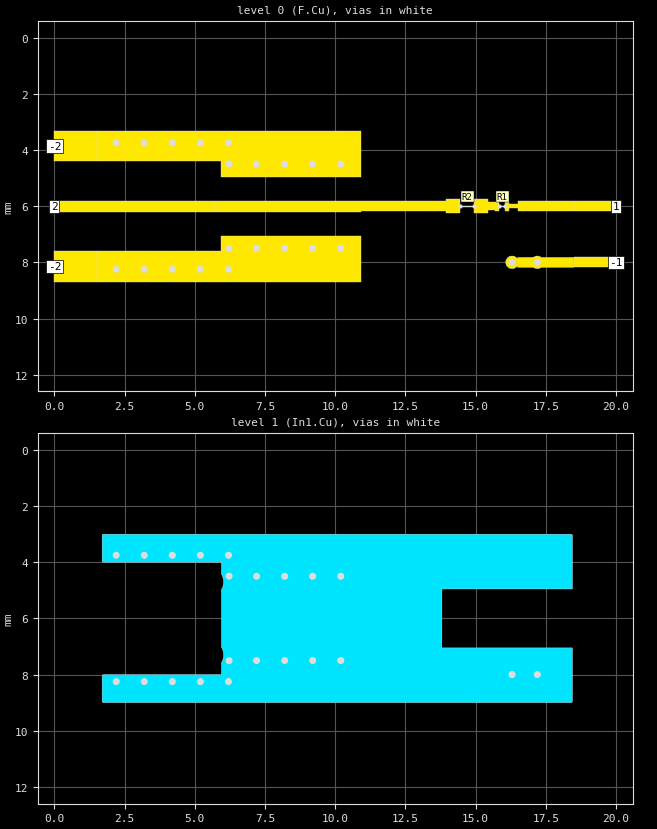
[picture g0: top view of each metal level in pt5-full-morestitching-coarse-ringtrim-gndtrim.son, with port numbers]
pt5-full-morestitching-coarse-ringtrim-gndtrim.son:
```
FTYP SONPROJ 19 ! Sonnet Project File
VER 18.52
HEADER
LIC antikernel2.1.51176
DAT 12/10/2021 07:29:23
BUILT_BY_CREATED dxf 18.52 11/25/2021 07:40:45
BUILT_BY_SAVED sonnet 18.52
MDATE 12/10/2021 07:28:58
HDATE 12/10/2021 07:28:58
ANN Created by dxfgeo, Sonnet Software Inc.
END HEADER
DIM
ANG DEG
CAP PF
CON /OH
FREQ GHZ
IND NH
LNG MM
RES OH
END DIM
CONTROL
VARSWP
OPTIONS  -dj
SPEED 1
CACHE_ABS 2
Q_ACC N
END CONTROL
GEO
DRP1 LEFT FIX 5.7
DRP1 RIGHT LINK
POLY 432 1
0
TMET "Free Space" 0 FREESPACE 376.7303136 0 0 0
BMET "Free Space" 0 FREESPACE 376.7303136 0 0 0
MET "Copper_outer" 1 TMM 58000000 0.5 0.0432 2
MET "Copper_inner" 2 NOR 58000000 0.5 0.0175 
MET "Copper_bottom" 3 TMM 58000000 0.5 0.0432 2 CDVY TDWN
BOX 4 20 12 1600 960 20 0
      10 1 1 0 0 0 0 "Air"
      0.1702 3.68 1 0.0092 0 0 0 "Isola_FR408HR"
      1.1938 3.68 1 0.0092 0 0 0 "Isola_FR408HR"
      0.1702 3.68 1 0.0092 0 0 0 "Isola_FR408HR"
      10 1 1 0 0 0 0 "Air"
TECHLAY VIA Via1 L5D0 -5 -65534 CAD Via1 drawing 
VIA POLYGON
0 0 -1 N 577 1 1 100 100 0 0 0 Y
TOLEVEL 3 RING NOCOVERS
END
END
TECHLAY METAL F.Cu L1D0 -1 -65534 CAD F.Cu drawing 
0 0 0 N 476 1 1 100 100 0 0 0 Y
END
END
TECHLAY METAL In1.Cu L2D0 -2 -65534 CAD In1.Cu drawing 
1 0 1 N 488 1 1 100 100 0 0 0 Y
END
END
TECHLAY METAL In2.Cu L3D0 -3 -65534 CAD In2.Cu drawing 
2 0 1 N 491 1 1 100 100 0 0 0 Y
END
END
TECHLAY METAL B.Cu L4D0 -4 -65534 CAD B.Cu drawing 
3 0 2 N 494 1 1 100 100 0 0 0 Y
END
END
LORGN 0 12 U 
POR1 BOX
POLY 432 1
2
1 50 0 0 0 20 6 
POR1 BOX
POLY 436 1
2
-1 50 0 0 0 20 8 
POR1 BOX
POLY 441 1
2
2 50 0 0 0 0 6 
POR1 BOX
POLY 447 1
2
-2 50 0 0 0 0 3.855 
POR1 BOX
POLY 452 1
2
-2 50 0 0 0 0 8.145 
SMD 0 "R1"
ID 455
GNDREF FLOAT
SBOX 15.9 16 5.95 6.05
PBSHW N
LPOS 15.95 5.95
TYPE SPARAM 1
SMDP 0 16.05 6 R 3 1 
EXSMDP
GNDREF FLOAT
TERMW FEED
END EXSMDP
SMDP 0 15.85 6 L 4 2 
EXSMDP
GNDREF FLOAT
TERMW FEED
END EXSMDP
END
SMD 0 "R2"
ID 460
GNDREF FLOAT
SBOX 14.575 14.825 5.875 6.125
PBSHW N
LPOS 14.7 5.875
TYPE SPARAM 2
SMDP 0 14.95 6 R 5 1 
EXSMDP
GNDREF FLOAT
TERMW FEED
END EXSMDP
SMDP 0 14.45 6 L 6 2 
EXSMDP
GNDREF FLOAT
TERMW FEED
END EXSMDP
END
NUM 34
VIA POLYGON
0 53 -1 N 344 1 1 100 100 0 0 0 Y
TOLEVEL 3 RING NOCOVERS
TLAYNAM Via1 INH
USER_DAT FromImport
2.2 3.875
2.176 3.873
2.164 3.87
2.152 3.865
2.141 3.86
2.131 3.854
2.121 3.847
2.103 3.829
2.096 3.819
2.09 3.809
2.085 3.798
2.08 3.786
2.077 3.774
2.075 3.75
2.077 3.726
2.08 3.714
2.085 3.702
2.09 3.691
2.096 3.681
2.103 3.671
2.121 3.653
2.131 3.646
2.141 3.64
2.152 3.635
2.164 3.63
2.176 3.627
2.2 3.625
2.224 3.627
2.236 3.63
2.248 3.635
2.259 3.64
2.269 3.646
2.279 3.653
2.297 3.671
2.304 3.681
2.31 3.691
2.315 3.702
2.32 3.714
2.323 3.726
2.325 3.75
2.323 3.774
2.32 3.786
2.315 3.798
2.31 3.809
2.304 3.819
2.297 3.829
2.279 3.847
2.269 3.854
2.259 3.86
2.248 3.865
2.236 3.87
2.224 3.873
2.2 3.875
END
VIA POLYGON
0 53 -1 N 346 1 1 100 100 0 0 0 Y
TOLEVEL 3 RING NOCOVERS
TLAYNAM Via1 INH
USER_DAT FromImport
17.2 8.125
17.176 8.123
17.164 8.12
17.152 8.115
17.141 8.11
17.131 8.104
17.121 8.097
17.103 8.079
17.096 8.069
17.09 8.059
17.085 8.048
17.08 8.036
17.077 8.024
17.075 8
17.077 7.976
17.08 7.964
17.085 7.952
17.09 7.941
17.096 7.931
17.103 7.921
17.121 7.903
17.131 7.896
17.141 7.89
17.152 7.885
17.164 7.88
17.176 7.877
17.2 7.875
17.224 7.877
17.236 7.88
17.248 7.885
17.259 7.89
17.269 7.896
17.279 7.903
17.297 7.921
17.304 7.931
17.31 7.941
17.315 7.952
17.32 7.964
17.323 7.976
17.325 8
17.323 8.024
17.32 8.036
17.315 8.048
17.31 8.059
17.304 8.069
17.297 8.079
17.279 8.097
17.269 8.104
17.259 8.11
17.248 8.115
17.236 8.12
17.224 8.123
17.2 8.125
END
VIA POLYGON
0 53 -1 N 350 1 1 100 100 0 0 0 Y
TOLEVEL 3 RING NOCOVERS
TLAYNAM Via1 INH
USER_DAT FromImport
5.2 3.875
5.176 3.873
5.164 3.87
5.152 3.865
5.141 3.86
5.131 3.854
5.121 3.847
5.103 3.829
5.096 3.819
5.09 3.809
5.085 3.798
5.08 3.786
5.077 3.774
5.075 3.75
5.077 3.726
5.08 3.714
5.085 3.702
5.09 3.691
5.096 3.681
5.103 3.671
5.121 3.653
5.131 3.646
5.141 3.64
5.152 3.635
5.164 3.63
5.176 3.627
5.2 3.625
5.224 3.627
5.236 3.63
5.248 3.635
5.259 3.64
5.269 3.646
5.279 3.653
5.297 3.671
5.304 3.681
5.31 3.691
5.315 3.702
5.32 3.714
5.323 3.726
5.325 3.75
5.323 3.774
5.32 3.786
5.315 3.798
5.31 3.809
5.304 3.819
5.297 3.829
5.279 3.847
5.269 3.854
5.259 3.86
5.248 3.865
5.236 3.87
5.224 3.873
5.2 3.875
END
VIA POLYGON
0 53 -1 N 355 1 1 100 100 0 0 0 Y
TOLEVEL 3 RING NOCOVERS
TLAYNAM Via1 INH
USER_DAT FromImport
16.3 8.125
16.276 8.123
16.264 8.12
16.252 8.115
16.241 8.11
16.231 8.104
16.221 8.097
16.203 8.079
16.196 8.069
16.19 8.059
16.185 8.048
16.18 8.036
16.177 8.024
16.175 8
16.177 7.976
16.18 7.964
16.185 7.952
16.19 7.941
16.196 7.931
16.203 7.921
16.221 7.903
16.231 7.896
16.241 7.89
16.252 7.885
16.264 7.88
16.276 7.877
16.3 7.875
16.324 7.877
16.336 7.88
16.348 7.885
16.359 7.89
16.369 7.896
16.379 7.903
16.397 7.921
16.404 7.931
16.41 7.941
16.415 7.952
16.42 7.964
16.423 7.976
16.425 8
16.423 8.024
16.42 8.036
16.415 8.048
16.41 8.059
16.404 8.069
16.397 8.079
16.379 8.097
16.369 8.104
16.359 8.11
16.348 8.115
16.336 8.12
16.324 8.123
16.3 8.125
END
VIA POLYGON
0 53 -1 N 356 1 1 100 100 0 0 0 Y
TOLEVEL 3 RING NOCOVERS
TLAYNAM Via1 INH
USER_DAT FromImport
6.2 3.875
6.176 3.873
6.164 3.87
6.152 3.865
6.141 3.86
6.131 3.854
6.121 3.847
6.103 3.829
6.096 3.819
6.09 3.809
6.085 3.798
6.08 3.786
6.077 3.774
6.075 3.75
6.077 3.726
6.08 3.714
6.085 3.702
6.09 3.691
6.096 3.681
6.103 3.671
6.121 3.653
6.131 3.646
6.141 3.64
6.152 3.635
6.164 3.63
6.176 3.627
6.2 3.625
6.224 3.627
6.236 3.63
6.248 3.635
6.259 3.64
6.269 3.646
6.279 3.653
6.297 3.671
6.304 3.681
6.31 3.691
6.315 3.702
6.32 3.714
6.323 3.726
6.325 3.75
6.323 3.774
6.32 3.786
6.315 3.798
6.31 3.809
6.304 3.819
6.297 3.829
6.279 3.847
6.269 3.854
6.259 3.86
6.248 3.865
6.236 3.87
6.224 3.873
6.2 3.875
END
VIA POLYGON
0 53 -1 N 358 1 1 100 100 0 0 0 Y
TOLEVEL 3 RING NOCOVERS
TLAYNAM Via1 INH
USER_DAT FromImport
10.2 4.625
10.176 4.623
10.164 4.62
10.152 4.615
10.141 4.61
10.131 4.604
10.121 4.597
10.103 4.579
10.096 4.569
10.09 4.559
10.085 4.548
10.08 4.536
10.077 4.524
10.075 4.5
10.077 4.476
10.08 4.464
10.085 4.452
10.09 4.441
10.096 4.431
10.103 4.421
10.121 4.403
10.131 4.396
10.141 4.39
10.152 4.385
10.164 4.38
10.176 4.377
10.2 4.375
10.224 4.377
10.236 4.38
10.248 4.385
10.259 4.39
10.269 4.396
10.279 4.403
10.297 4.421
10.304 4.431
10.31 4.441
10.315 4.452
10.32 4.464
10.323 4.476
10.325 4.5
10.323 4.524
10.32 4.536
10.315 4.548
10.31 4.559
10.304 4.569
10.297 4.579
10.279 4.597
10.269 4.604
10.259 4.61
10.248 4.615
10.236 4.62
10.224 4.623
10.2 4.625
END
VIA POLYGON
0 53 -1 N 359 1 1 100 100 0 0 0 Y
TOLEVEL 3 RING NOCOVERS
TLAYNAM Via1 INH
USER_DAT FromImport
6.221 4.619
6.197 4.617
6.185 4.614
6.173 4.609
6.162 4.604
6.152 4.598
6.142 4.591
6.124 4.573
6.117 4.563
6.111 4.553
6.106 4.542
6.101 4.53
6.098 4.518
6.096 4.494
6.098 4.47
6.101 4.458
6.106 4.446
6.111 4.435
6.117 4.425
6.124 4.415
6.142 4.397
6.152 4.39
6.162 4.384
6.173 4.379
6.185 4.374
6.197 4.371
6.221 4.369
6.245 4.371
6.257 4.374
6.269 4.379
6.28 4.384
6.29 4.39
6.3 4.397
6.318 4.415
6.325 4.425
6.331 4.435
6.336 4.446
6.341 4.458
6.344 4.47
6.346 4.494
6.344 4.518
6.341 4.53
6.336 4.542
6.331 4.553
6.325 4.563
6.318 4.573
6.3 4.591
6.29 4.598
6.28 4.604
6.269 4.609
6.257 4.614
6.245 4.617
6.221 4.619
END
VIA POLYGON
0 53 -1 N 366 1 1 100 100 0 0 0 Y
TOLEVEL 3 RING NOCOVERS
TLAYNAM Via1 INH
USER_DAT FromImport
10.2 7.625
10.176 7.623
10.164 7.62
10.152 7.615
10.141 7.61
10.131 7.604
10.121 7.597
10.103 7.579
10.096 7.569
10.09 7.559
10.085 7.548
10.08 7.536
10.077 7.524
10.075 7.5
10.077 7.476
10.08 7.464
10.085 7.452
10.09 7.441
10.096 7.431
10.103 7.421
10.121 7.403
10.131 7.396
10.141 7.39
10.152 7.385
10.164 7.38
10.176 7.377
10.2 7.375
10.224 7.377
10.236 7.38
10.248 7.385
10.259 7.39
10.269 7.396
10.279 7.403
10.297 7.421
10.304 7.431
10.31 7.441
10.315 7.452
10.32 7.464
10.323 7.476
10.325 7.5
10.323 7.524
10.32 7.536
10.315 7.548
10.31 7.559
10.304 7.569
10.297 7.579
10.279 7.597
10.269 7.604
10.259 7.61
10.248 7.615
10.236 7.62
10.224 7.623
10.2 7.625
END
VIA POLYGON
0 53 -1 N 368 1 1 100 100 0 0 0 Y
TOLEVEL 3 RING NOCOVERS
TLAYNAM Via1 INH
USER_DAT FromImport
8.2 4.625
8.176 4.623
8.164 4.62
8.152 4.615
8.141 4.61
8.131 4.604
8.121 4.597
8.103 4.579
8.096 4.569
8.09 4.559
8.085 4.548
8.08 4.536
8.077 4.524
8.075 4.5
8.077 4.476
8.08 4.464
8.085 4.452
8.09 4.441
8.096 4.431
8.103 4.421
8.121 4.403
8.131 4.396
8.141 4.39
8.152 4.385
8.164 4.38
8.176 4.377
8.2 4.375
8.224 4.377
8.236 4.38
8.248 4.385
8.259 4.39
8.269 4.396
8.279 4.403
8.297 4.421
8.304 4.431
8.31 4.441
8.315 4.452
8.32 4.464
8.323 4.476
8.325 4.5
8.323 4.524
8.32 4.536
8.315 4.548
8.31 4.559
8.304 4.569
8.297 4.579
8.279 4.597
8.269 4.604
8.259 4.61
8.248 4.615
8.236 4.62
8.224 4.623
8.2 4.625
END
VIA POLYGON
0 53 -1 N 369 1 1 100 100 0 0 0 Y
TOLEVEL 3 RING NOCOVERS
TLAYNAM Via1 INH
USER_DAT FromImport
3.2 8.375
3.176 8.373
3.164 8.37
3.152 8.365
3.141 8.36
3.131 8.354
3.121 8.347
3.103 8.329
3.096 8.319
3.09 8.309
3.085 8.298
3.08 8.286
3.077 8.274
3.075 8.25
3.077 8.226
3.08 8.214
3.085 8.202
3.09 8.191
3.096 8.181
3.103 8.171
3.121 8.153
3.131 8.146
3.141 8.14
3.152 8.135
3.164 8.13
3.176 8.127
3.2 8.125
3.224 8.127
3.236 8.13
3.248 8.135
3.259 8.14
3.269 8.146
3.279 8.153
3.297 8.171
3.304 8.181
3.31 8.191
3.315 8.202
3.32 8.214
3.323 8.226
3.325 8.25
3.323 8.274
3.32 8.286
3.315 8.298
3.31 8.309
3.304 8.319
3.297 8.329
3.279 8.347
3.269 8.354
3.259 8.36
3.248 8.365
3.236 8.37
3.224 8.373
3.2 8.375
END
VIA POLYGON
0 53 -1 N 373 1 1 100 100 0 0 0 Y
TOLEVEL 3 RING NOCOVERS
TLAYNAM Via1 INH
USER_DAT FromImport
7.2 4.625
7.176 4.623
7.164 4.62
7.152 4.615
7.141 4.61
7.131 4.604
7.121 4.597
7.103 4.579
7.096 4.569
7.09 4.559
7.085 4.548
7.08 4.536
7.077 4.524
7.075 4.5
7.077 4.476
7.08 4.464
7.085 4.452
7.09 4.441
7.096 4.431
7.103 4.421
7.121 4.403
7.131 4.396
7.141 4.39
7.152 4.385
7.164 4.38
7.176 4.377
7.2 4.375
7.224 4.377
7.236 4.38
7.248 4.385
7.259 4.39
7.269 4.396
7.279 4.403
7.297 4.421
7.304 4.431
7.31 4.441
7.315 4.452
7.32 4.464
7.323 4.476
7.325 4.5
7.323 4.524
7.32 4.536
7.315 4.548
7.31 4.559
7.304 4.569
7.297 4.579
7.279 4.597
7.269 4.604
7.259 4.61
7.248 4.615
7.236 4.62
7.224 4.623
7.2 4.625
END
VIA POLYGON
0 53 -1 N 378 1 1 100 100 0 0 0 Y
TOLEVEL 3 RING NOCOVERS
TLAYNAM Via1 INH
USER_DAT FromImport
4.2 3.875
4.176 3.873
4.164 3.87
4.152 3.865
4.141 3.86
4.131 3.854
4.121 3.847
4.103 3.829
4.096 3.819
4.09 3.809
4.085 3.798
4.08 3.786
4.077 3.774
4.075 3.75
4.077 3.726
4.08 3.714
4.085 3.702
4.09 3.691
4.096 3.681
4.103 3.671
4.121 3.653
4.131 3.646
4.141 3.64
4.152 3.635
4.164 3.63
4.176 3.627
4.2 3.625
4.224 3.627
4.236 3.63
4.248 3.635
4.259 3.64
4.269 3.646
4.279 3.653
4.297 3.671
4.304 3.681
4.31 3.691
4.315 3.702
4.32 3.714
4.323 3.726
4.325 3.75
4.323 3.774
4.32 3.786
4.315 3.798
4.31 3.809
4.304 3.819
4.297 3.829
4.279 3.847
4.269 3.854
4.259 3.86
4.248 3.865
4.236 3.87
4.224 3.873
4.2 3.875
END
VIA POLYGON
0 53 -1 N 380 1 1 100 100 0 0 0 Y
TOLEVEL 3 RING NOCOVERS
TLAYNAM Via1 INH
USER_DAT FromImport
6.221 7.631
6.197 7.629
6.185 7.626
6.173 7.621
6.162 7.616
6.152 7.61
6.142 7.603
6.124 7.585
6.117 7.575
6.111 7.565
6.106 7.554
6.101 7.542
6.098 7.53
6.096 7.506
6.098 7.482
6.101 7.47
6.106 7.458
6.111 7.447
6.117 7.437
6.124 7.427
6.142 7.409
6.152 7.402
6.162 7.396
6.173 7.391
6.185 7.386
6.197 7.383
6.221 7.381
6.245 7.383
6.257 7.386
6.269 7.391
6.28 7.396
6.29 7.402
6.3 7.409
6.318 7.427
6.325 7.437
6.331 7.447
6.336 7.458
6.341 7.47
6.344 7.482
6.346 7.506
6.344 7.53
6.341 7.542
6.336 7.554
6.331 7.565
6.325 7.575
6.318 7.585
6.3 7.603
6.29 7.61
6.28 7.616
6.269 7.621
6.257 7.626
6.245 7.629
6.221 7.631
END
VIA POLYGON
0 53 -1 N 385 1 1 100 100 0 0 0 Y
TOLEVEL 3 RING NOCOVERS
TLAYNAM Via1 INH
USER_DAT FromImport
2.2 8.375
2.176 8.373
2.164 8.37
2.152 8.365
2.141 8.36
2.131 8.354
2.121 8.347
2.103 8.329
2.096 8.319
2.09 8.309
2.085 8.298
2.08 8.286
2.077 8.274
2.075 8.25
2.077 8.226
2.08 8.214
2.085 8.202
2.09 8.191
2.096 8.181
2.103 8.171
2.121 8.153
2.131 8.146
2.141 8.14
2.152 8.135
2.164 8.13
2.176 8.127
2.2 8.125
2.224 8.127
2.236 8.13
2.248 8.135
2.259 8.14
2.269 8.146
2.279 8.153
2.297 8.171
2.304 8.181
2.31 8.191
2.315 8.202
2.32 8.214
2.323 8.226
2.325 8.25
2.323 8.274
2.32 8.286
2.315 8.298
2.31 8.309
2.304 8.319
2.297 8.329
2.279 8.347
2.269 8.354
2.259 8.36
2.248 8.365
2.236 8.37
2.224 8.373
2.2 8.375
END
VIA POLYGON
0 53 -1 N 392 1 1 100 100 0 0 0 Y
TOLEVEL 3 RING NOCOVERS
TLAYNAM Via1 INH
USER_DAT FromImport
8.2 7.625
8.176 7.623
8.164 7.62
8.152 7.615
8.141 7.61
8.131 7.604
8.121 7.597
8.103 7.579
8.096 7.569
8.09 7.559
8.085 7.548
8.08 7.536
8.077 7.524
8.075 7.5
8.077 7.476
8.08 7.464
8.085 7.452
8.09 7.441
8.096 7.431
8.103 7.421
8.121 7.403
8.131 7.396
8.141 7.39
8.152 7.385
8.164 7.38
8.176 7.377
8.2 7.375
8.224 7.377
8.236 7.38
8.248 7.385
8.259 7.39
8.269 7.396
8.279 7.403
8.297 7.421
8.304 7.431
8.31 7.441
8.315 7.452
8.32 7.464
8.323 7.476
8.325 7.5
8.323 7.524
8.32 7.536
8.315 7.548
8.31 7.559
8.304 7.569
8.297 7.579
8.279 7.597
8.269 7.604
8.259 7.61
8.248 7.615
8.236 7.62
8.224 7.623
8.2 7.625
END
VIA POLYGON
0 53 -1 N 395 1 1 100 100 0 0 0 Y
TOLEVEL 3 RING NOCOVERS
TLAYNAM Via1 INH
USER_DAT FromImport
5.2 8.375
5.176 8.373
5.164 8.37
5.152 8.365
5.141 8.36
5.131 8.354
5.121 8.347
5.103 8.329
5.096 8.319
5.09 8.309
5.085 8.298
5.08 8.286
5.077 8.274
5.075 8.25
5.077 8.226
5.08 8.214
5.085 8.202
5.09 8.191
5.096 8.181
5.103 8.171
5.121 8.153
5.131 8.146
5.141 8.14
5.152 8.135
5.164 8.13
5.176 8.127
5.2 8.125
5.224 8.127
5.236 8.13
5.248 8.135
5.259 8.14
5.269 8.146
5.279 8.153
5.297 8.171
5.304 8.181
5.31 8.191
5.315 8.202
5.32 8.214
5.323 8.226
5.325 8.25
5.323 8.274
5.32 8.286
5.315 8.298
5.31 8.309
5.304 8.319
5.297 8.329
5.279 8.347
5.269 8.354
5.259 8.36
5.248 8.365
5.236 8.37
5.224 8.373
5.2 8.375
END
VIA POLYGON
0 53 -1 N 400 1 1 100 100 0 0 0 Y
TOLEVEL 3 RING NOCOVERS
TLAYNAM Via1 INH
USER_DAT FromImport
4.2 8.375
4.176 8.373
4.164 8.37
4.152 8.365
4.141 8.36
4.131 8.354
4.121 8.347
4.103 8.329
4.096 8.319
4.09 8.309
4.085 8.298
4.08 8.286
4.077 8.274
4.075 8.25
4.077 8.226
4.08 8.214
4.085 8.202
4.09 8.191
4.096 8.181
4.103 8.171
4.121 8.153
4.131 8.146
4.141 8.14
4.152 8.135
4.164 8.13
4.176 8.127
4.2 8.125
4.224 8.127
4.236 8.13
4.248 8.135
4.259 8.14
4.269 8.146
4.279 8.153
4.297 8.171
4.304 8.181
4.31 8.191
4.315 8.202
4.32 8.214
4.323 8.226
4.325 8.25
4.323 8.274
4.32 8.286
4.315 8.298
4.31 8.309
4.304 8.319
4.297 8.329
4.279 8.347
4.269 8.354
4.259 8.36
4.248 8.365
4.236 8.37
4.224 8.373
4.2 8.375
END
VIA POLYGON
0 53 -1 N 404 1 1 100 100 0 0 0 Y
TOLEVEL 3 RING NOCOVERS
TLAYNAM Via1 INH
USER_DAT FromImport
7.2 7.625
7.176 7.623
7.164 7.62
7.152 7.615
7.141 7.61
7.131 7.604
7.121 7.597
7.103 7.579
7.096 7.569
7.09 7.559
7.085 7.548
7.08 7.536
7.077 7.524
7.075 7.5
7.077 7.476
7.08 7.464
7.085 7.452
7.09 7.441
7.096 7.431
7.103 7.421
7.121 7.403
7.131 7.396
7.141 7.39
7.152 7.385
7.164 7.38
7.176 7.377
7.2 7.375
7.224 7.377
7.236 7.38
7.248 7.385
7.259 7.39
7.269 7.396
7.279 7.403
7.297 7.421
7.304 7.431
7.31 7.441
7.315 7.452
7.32 7.464
7.323 7.476
7.325 7.5
7.323 7.524
7.32 7.536
7.315 7.548
7.31 7.559
7.304 7.569
7.297 7.579
7.279 7.597
7.269 7.604
7.259 7.61
7.248 7.615
7.236 7.62
7.224 7.623
7.2 7.625
END
VIA POLYGON
0 53 -1 N 406 1 1 100 100 0 0 0 Y
TOLEVEL 3 RING NOCOVERS
TLAYNAM Via1 INH
USER_DAT FromImport
9.2 4.625
9.176 4.623
9.164 4.62
9.152 4.615
9.141 4.61
9.131 4.604
9.121 4.597
9.103 4.579
9.096 4.569
9.09 4.559
9.085 4.548
9.08 4.536
9.077 4.524
9.075 4.5
9.077 4.476
9.08 4.464
9.085 4.452
9.09 4.441
9.096 4.431
9.103 4.421
9.121 4.403
9.131 4.396
9.141 4.39
9.152 4.385
9.164 4.38
9.176 4.377
9.2 4.375
9.224 4.377
9.236 4.38
9.248 4.385
9.259 4.39
9.269 4.396
9.279 4.403
9.297 4.421
9.304 4.431
9.31 4.441
9.315 4.452
9.32 4.464
9.323 4.476
9.325 4.5
9.323 4.524
9.32 4.536
9.315 4.548
9.31 4.559
9.304 4.569
9.297 4.579
9.279 4.597
9.269 4.604
9.259 4.61
9.248 4.615
9.236 4.62
9.224 4.623
9.2 4.625
END
VIA POLYGON
0 53 -1 N 412 1 1 100 100 0 0 0 Y
TOLEVEL 3 RING NOCOVERS
TLAYNAM Via1 INH
USER_DAT FromImport
6.2 8.375
6.176 8.373
6.164 8.37
6.152 8.365
6.141 8.36
6.131 8.354
6.121 8.347
6.103 8.329
6.096 8.319
6.09 8.309
6.085 8.298
6.08 8.286
6.077 8.274
6.075 8.25
6.077 8.226
6.08 8.214
6.085 8.202
6.09 8.191
6.096 8.181
6.103 8.171
6.121 8.153
6.131 8.146
6.141 8.14
6.152 8.135
6.164 8.13
6.176 8.127
6.2 8.125
6.224 8.127
6.236 8.13
6.248 8.135
6.259 8.14
6.269 8.146
6.279 8.153
6.297 8.171
6.304 8.181
6.31 8.191
6.315 8.202
6.32 8.214
6.323 8.226
6.325 8.25
6.323 8.274
6.32 8.286
6.315 8.298
6.31 8.309
6.304 8.319
6.297 8.329
6.279 8.347
6.269 8.354
6.259 8.36
6.248 8.365
6.236 8.37
6.224 8.373
6.2 8.375
END
VIA POLYGON
0 53 -1 N 420 1 1 100 100 0 0 0 Y
TOLEVEL 3 RING NOCOVERS
TLAYNAM Via1 INH
USER_DAT FromImport
3.2 3.875
3.176 3.873
3.164 3.87
3.152 3.865
3.141 3.86
3.131 3.854
3.121 3.847
3.103 3.829
3.096 3.819
3.09 3.809
3.085 3.798
3.08 3.786
3.077 3.774
3.075 3.75
3.077 3.726
3.08 3.714
3.085 3.702
3.09 3.691
3.096 3.681
3.103 3.671
3.121 3.653
3.131 3.646
3.141 3.64
3.152 3.635
3.164 3.63
3.176 3.627
3.2 3.625
3.224 3.627
3.236 3.63
3.248 3.635
3.259 3.64
3.269 3.646
3.279 3.653
3.297 3.671
3.304 3.681
3.31 3.691
3.315 3.702
3.32 3.714
3.323 3.726
3.325 3.75
3.323 3.774
3.32 3.786
3.315 3.798
3.31 3.809
3.304 3.819
3.297 3.829
3.279 3.847
3.269 3.854
3.259 3.86
3.248 3.865
3.236 3.87
3.224 3.873
3.2 3.875
END
VIA POLYGON
0 53 -1 N 422 1 1 100 100 0 0 0 Y
TOLEVEL 3 RING NOCOVERS
TLAYNAM Via1 INH
USER_DAT FromImport
9.2 7.625
9.176 7.623
9.164 7.62
9.152 7.615
9.141 7.61
9.131 7.604
9.121 7.597
9.103 7.579
9.096 7.569
9.09 7.559
9.085 7.548
9.08 7.536
9.077 7.524
9.075 7.5
9.077 7.476
9.08 7.464
9.085 7.452
9.09 7.441
9.096 7.431
9.103 7.421
9.121 7.403
9.131 7.396
9.141 7.39
9.152 7.385
9.164 7.38
9.176 7.377
9.2 7.375
9.224 7.377
9.236 7.38
9.248 7.385
9.259 7.39
9.269 7.396
9.279 7.403
9.297 7.421
9.304 7.431
9.31 7.441
9.315 7.452
9.32 7.464
9.323 7.476
9.325 7.5
9.323 7.524
9.32 7.536
9.315 7.548
9.31 7.559
9.304 7.569
9.297 7.579
9.279 7.597
9.269 7.604
9.259 7.61
9.248 7.615
9.236 7.62
9.224 7.623
9.2 7.625
END
0 13 0 N 365 1 1 100 100 0 0 0 Y
TLAYNAM F.Cu INH
USER_DAT FromImport
14.95 6.25
14.95 5.75
15.45 5.75
15.45 5.85
15.7 5.85
15.7 5.845
15.85 5.845
15.85 6.155
15.7 6.155
15.7 6.15
15.45 6.15
15.45 6.25
14.95 6.25
END
0 13 0 N 371 1 1 100 100 0 0 0 Y
TLAYNAM F.Cu INH
USER_DAT FromImport
13.95 6.25
13.95 6.175
10.91 6.175
10.91 6.2
5.7 6.2
5.7 5.8
10.91 5.8
10.91 5.825
13.95 5.825
13.95 5.75
14.45 5.75
14.45 6.25
13.95 6.25
END
0 13 0 N 391 1 1 100 100 0 0 0 Y
TLAYNAM F.Cu INH
USER_DAT FromImport
16.5 6.175
16.5 6.062
16.2 6.062
16.2 6.155
16.05 6.155
16.05 5.845
16.2 5.845
16.2 5.937
16.5 5.937
16.5 5.825
18.5 5.825
18.5 6.175
16.5 6.175
END
0 93 0 N 416 1 1 100 100 0 0 0 Y
TLAYNAM F.Cu INH
USER_DAT FromImport
16.289 8.225
16.267 8.223
16.245 8.218
16.224 8.212
16.204 8.203
16.184 8.193
16.166 8.181
16.149 8.167
16.133 8.151
16.119 8.134
16.107 8.116
16.097 8.096
16.088 8.076
16.082 8.055
16.077 8.033
16.075 8.011
16.075 7.989
16.077 7.967
16.082 7.945
16.088 7.924
16.097 7.904
16.107 7.884
16.119 7.866
16.133 7.849
16.149 7.833
16.166 7.819
16.184 7.807
16.204 7.797
16.224 7.788
16.245 7.782
16.267 7.777
16.289 7.775
16.311 7.775
16.333 7.777
16.355 7.782
16.376 7.788
16.396 7.797
16.416 7.807
16.434 7.819
16.451 7.833
16.467 7.849
16.481 7.866
16.493 7.884
16.5 7.898
16.5 7.825
17.059 7.825
17.066 7.819
17.084 7.807
17.104 7.797
17.124 7.788
17.145 7.782
17.167 7.777
17.189 7.775
17.211 7.775
17.233 7.777
17.255 7.782
17.276 7.788
17.296 7.797
17.316 7.807
17.334 7.819
17.341 7.825
18.5 7.825
18.5 8.175
17.341 8.175
17.334 8.181
17.316 8.193
17.296 8.203
17.276 8.212
17.255 8.218
17.233 8.223
17.211 8.225
17.189 8.225
17.167 8.223
17.145 8.218
17.124 8.212
17.104 8.203
17.084 8.193
17.066 8.181
17.059 8.175
16.5 8.175
16.5 8.102
16.493 8.116
16.481 8.134
16.467 8.151
16.451 8.167
16.434 8.181
16.416 8.193
16.396 8.203
16.376 8.212
16.355 8.218
16.333 8.223
16.311 8.225
16.289 8.225
END
0 7 0 N 426 1 1 100 100 0 0 0 Y
TLAYNAM F.Cu INH
USER_DAT FromImport
10.91 7.05
5.95 7.05
5.95 7.6
1.51 7.6
1.51 8.69
10.91 8.69
10.91 7.05
END
0 9 0 N 427 1 1 100 100 0 0 0 Y
TLAYNAM F.Cu INH
USER_DAT FromImport
10.91 3.31
1.51 3.31
1.51 4.4
5.236 4.4
5.236 4.4
5.95 4.4
5.95 4.95
10.91 4.95
10.91 3.31
END
0 5 0 N 432 1 1 100 100 0 0 0 Y
TLAYNAM F.Cu INH
18.5 5.825
18.5 6.175
20 6.175
20 5.825
18.5 5.825
END
0 5 0 N 436 1 1 100 100 0 0 0 Y
TLAYNAM F.Cu INH
18.5 7.825
18.5 8.175
20 8.175
20 7.825
18.5 7.825
END
0 5 0 N 441 1 1 100 100 0 0 0 Y
TLAYNAM F.Cu INH
5.7 6.2
5.7 5.8
0 5.8
0 6.2
5.7 6.2
END
0 5 0 N 447 1 1 100 100 0 0 0 Y
TLAYNAM F.Cu INH
1.51 3.31
1.51 4.4
0 4.4
0 3.31
1.51 3.31
END
0 5 0 N 452 1 1 100 100 0 0 0 Y
TLAYNAM F.Cu INH
1.51 7.6
1.51 8.69
0 8.69
0 7.6
1.51 7.6
END
1 129 1 N 595 1 1 100 100 0 0 0 Y
TLAYNAM In1.Cu INH
USER_DAT FromImport
18.412 8.999
18.417 8.997
18.421 8.995
18.426 8.993
18.434 8.987
18.437 8.984
18.443 8.976
18.445 8.971
18.447 8.967
18.449 8.962
18.45 8.957
18.45 7.05
13.8 7.05
13.8 4.95
18.45 4.95
18.45 3.043
18.449 3.038
18.447 3.033
18.445 3.029
18.443 3.024
18.437 3.016
18.434 3.013
18.426 3.007
18.421 3.005
18.417 3.003
18.412 3.001
18.407 3
1.743 3
1.738 3.001
1.733 3.003
1.729 3.005
1.724 3.007
1.716 3.013
1.713 3.016
1.707 3.024
1.705 3.029
1.703 3.033
1.701 3.038
1.7 3.043
1.7 3.957
1.701 3.962
1.703 3.967
1.705 3.971
1.707 3.976
1.713 3.984
1.716 3.987
1.724 3.993
1.729 3.995
1.733 3.997
1.738 3.999
1.743 4
5.949 4
5.949 4.001
5.95 4.001
5.95 4.42
5.951 4.425
5.953 4.429
5.953 4.431
5.955 4.435
5.956 4.436
5.957 4.439
5.963 4.447
5.965 4.449
5.966 4.452
5.999 4.531
6.003 4.549
6.009 4.57
6.009 4.571
6.025 4.65
6.025 4.755
6.004 4.855
5.966 4.947
5.957 4.961
5.953 4.969
5.951 4.974
5.95 4.979
5.95 7.02
5.951 7.025
5.953 7.029
5.953 7.031
5.955 7.035
5.956 7.036
5.957 7.039
5.963 7.047
5.965 7.049
5.966 7.052
6.004 7.143
6.025 7.25
6.025 7.355
6.01 7.428
6.009 7.43
6.003 7.451
5.999 7.467
5.966 7.547
5.963 7.553
5.957 7.561
5.955 7.565
5.955 7.566
5.953 7.57
5.951 7.575
5.95 7.579
5.95 7.999
5.949 8
1.743 8
1.738 8.001
1.733 8.003
1.729 8.005
1.724 8.007
1.716 8.013
1.713 8.016
1.707 8.024
1.705 8.029
1.703 8.033
1.701 8.038
1.7 8.043
1.7 8.957
1.701 8.962
1.703 8.967
1.705 8.971
1.707 8.976
1.713 8.984
1.716 8.987
1.724 8.993
1.729 8.995
1.733 8.997
1.738 8.999
1.743 9
18.407 9
18.412 8.999
END
END GEO
OPT
MAX 100
END OPT
VARSWP
ENABLED Y
FREQ Y AY ABS_ENTRY 0.1 14.0 -1 300 
FREQ Y AN STEP 6.95
END
END VARSWP
SMDFILES
2 "../../../../../../ceph/bulk/datasheets/Vishay/Resistors/FC/0402/FC0402-FlipChip-100 Ohm.s2p"
1 "../../../../../../ceph/bulk/datasheets/Vishay/Resistors/CH/CH02016F_P/CH02016F_P_250R.s2p"
END SMDFILES
```
